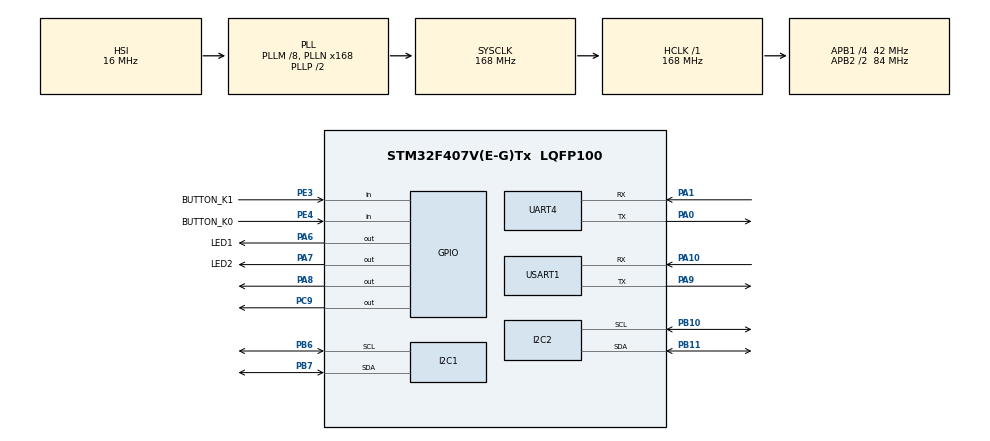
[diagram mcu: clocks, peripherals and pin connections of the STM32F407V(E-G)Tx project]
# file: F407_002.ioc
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Mcu.Family=STM32F4
Mcu.Name=STM32F407V(E-G)Tx
Mcu.Package=LQFP100
NVIC.PriorityGroup=NVIC_PRIORITYGROUP_4
NVIC.UART4_IRQn=true\:0\:0\:false\:false\:true\:true\:true\:true
PA0-WKUP.Mode=Asynchronous
PA0-WKUP.Signal=UART4_TX
PA1.Mode=Asynchronous
PA1.Signal=UART4_RX
PA10.Mode=Asynchronous
PA10.Signal=USART1_RX
PA13.Mode=Trace_Asynchronous_SW
PA13.Signal=SYS_JTMS-SWDIO
PA14.Mode=Trace_Asynchronous_SW
PA14.Signal=SYS_JTCK-SWCLK
PA6.GPIO_Label=LED1
PA6.Signal=GPIO_Output
PA7.GPIO_Label=LED2
PA7.Signal=GPIO_Output
PA8.Signal=GPIO_Output
PA9.Mode=Asynchronous
PA9.Signal=USART1_TX
PB10.Mode=I2C
PB10.Signal=I2C2_SCL
PB11.Mode=I2C
PB11.Signal=I2C2_SDA
PB3.Mode=Trace_Asynchronous_SW
PB3.Signal=SYS_JTDO-SWO
PB6.Mode=I2C
PB6.Signal=I2C1_SCL
PB7.Mode=I2C
PB7.Signal=I2C1_SDA
PC9.Signal=GPIO_Output
PE3.GPIO_Label=BUTTON_K1
PE3.Signal=GPIO_Input
PE4.GPIO_Label=BUTTON_K0
PE4.Signal=GPIO_Input
ProjectManager.HeapSize=0x200
ProjectManager.StackSize=0x400
ProjectManager.TargetToolchain=STM32CubeIDE
RCC.48MHZClocksFreq_Value=84000000
RCC.AHBFreq_Value=168000000
RCC.APB1CLKDivider=RCC_HCLK_DIV4
RCC.APB1Freq_Value=42000000
RCC.APB1TimFreq_Value=84000000
RCC.APB2CLKDivider=RCC_HCLK_DIV2
RCC.APB2Freq_Value=84000000
RCC.APB2TimFreq_Value=168000000
RCC.CortexFreq_Value=168000000
RCC.HCLKFreq_Value=168000000
RCC.HSE_VALUE=25000000
RCC.HSI_VALUE=16000000
RCC.LSE_VALUE=32768
RCC.PLLM=8
RCC.PLLN=168
RCC.SYSCLKFreq_VALUE=168000000
RCC.SYSCLKSource=RCC_SYSCLKSOURCE_PLLCLK
RCC.VCOOutputFreq_Value=336000000
UART4.VirtualMode=Asynchronous
USART1.VirtualMode=VM_ASYNC
board=custom

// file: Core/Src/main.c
/* USER CODE BEGIN Header */
/**
  ******************************************************************************
  * @file           : main.c
  * @brief          : Main program body
  ******************************************************************************
  * @attention
  *
  * Copyright (c) 2026 STMicroelectronics.
  * All rights reserved.
  *
  * This software is licensed under terms that can be found in the LICENSE file
  * in the root directory of this software component.
  * If no LICENSE file comes with this software, it is provided AS-IS.
  *
  ******************************************************************************
  */
/* USER CODE END Header */
#include "main.h"
#include "i2c.h"
#include "usart.h"
#include "gpio.h"

/* USER CODE BEGIN Includes */
#include <stdio.h>
#include "bh1750.h"
#include "mpu6050.h"
#include "string.h"
/* USER CODE END Includes */

/* USER CODE BEGIN PD */
#define MPU6050_ADDR 0xD0
    // Continuously H-Resolution Mode (1 lx res)
/* USER CODE END PD */

/* USER CODE BEGIN PV */
uint8_t rxData[64];

uint8_t ble_rx_byte;
char ble_rx_buffer[128];
uint16_t ble_rx_index = 0;

char ble_tx_buffer[64];
/* USER CODE END PV */

void SystemClock_Config(void);
/* USER CODE BEGIN PFP */
bool mpu6050_platform_i2c_write(I2C_HandleTypeDef *handle,
								uint8_t dev_addr,
								uint8_t reg_addr,
								const uint8_t *data,
								uint8_t len);
bool mpu6050_platform_i2c_read(I2C_HandleTypeDef *handle,
							   uint8_t dev_addr,
							   uint8_t reg_addr,
							   const uint8_t *data,
							   uint8_t len);

int8_t platform_i2c_write(I2C_HandleTypeDef *handle,
						uint8_t dev_addr,
						const uint8_t *data,
						uint8_t len);

int8_t platform_i2c_read(I2C_HandleTypeDef *handle,
						uint8_t dev_addr,
						const uint8_t *data,
						uint8_t len);

void platform_delay_ms(uint32_t ms);

void BLE_SendData(const char* data);
void BLE_SendSensorData(int16_t Ax, int16_t Ay, int16_t Az);
/* USER CODE END PFP */

/* USER CODE BEGIN 0 */

int _write(int file, char *ptr, int len)
{
    for (int DataIdx = 0; DataIdx < len; DataIdx++)
    {
        ITM_SendChar(*ptr++);
    }
    return len;
}
/* USER CODE END 0 */

int main(void)
{

  /* USER CODE BEGIN 1 */
  bh1750_t light_sensor;
  mpu6050_t sensor;
  mpu6050_config_t config = { .device_address = MPU6050_ADDR };
  bool mpu6050_driver_initialized = false;

  /* USER CODE END 1 */

  /* MCU Configuration--------------------------------------------------------*/

  /* Reset of all peripherals, Initializes the Flash interface and the Systick. */
  HAL_Init();

  /* Configure the system clock */
  SystemClock_Config();

  /* Initialize all configured peripherals */
  MX_GPIO_Init();
  MX_I2C1_Init();
  MX_I2C2_Init();
  MX_UART4_Init();
  MX_USART1_UART_Init();
  /* USER CODE BEGIN 2 */

  mpu6050_driver_initialized = mpu6050_init(&sensor,
		  	  	  &config,
				  &hi2c1,
				  mpu6050_platform_i2c_write,
				  mpu6050_platform_i2c_read);

  if (mpu6050_driver_initialized)
  {
	  printf("--- accelerometer & gyroscope sensor initialized.\r\n");
  }

  if (bh1750_init(&light_sensor,
		  	  	  &hi2c2,
				  (BH1750_ADDR_LOW << 1),
				  platform_i2c_write,
				  platform_i2c_read,
				  platform_delay_ms) == BH1750_OK)
  {
	  printf("--- light sensor initialized.\r\n");
  }

  platform_delay_ms(500);

  /* USER CODE END 2 */

  /* Infinite loop */
  /* USER CODE BEGIN WHILE */

  while (1)
  {
	if (mpu6050_driver_initialized)
	{
		if (mpu6050_read_sensors(&sensor))
		{
		  mpu6050_data_t data;
		  mpu6050_get_data(&sensor, &data);

		  HAL_GPIO_TogglePin(LED1_GPIO_Port, LED1_Pin);
		  // for logic analyzer
		  HAL_GPIO_TogglePin(GPIOA, GPIO_PIN_8);
		  printf("--- mpu6050 accelerometer data: %d %d  %d\r\n", data.ax, data.ay, data.az);
		  BLE_SendSensorData(data.ax, data.ay, data.az);
		}
	}

	if (bh1750_read_lux(&light_sensor) == BH1750_OK)
	{
		printf("--- BH1750 Lux value: %f\r\n", light_sensor.lux);

		if (light_sensor.lux > 250)
		{
		  printf("--- turn led on!\r\n");
		  HAL_GPIO_WritePin(LED2_GPIO_Port, LED2_Pin, SET);
		  // for logic analyzer
		  HAL_GPIO_WritePin(GPIOC, GPIO_PIN_9, SET);
		}
		else
		{
			printf("--- turn led off!\r\n");
			HAL_GPIO_WritePin(LED2_GPIO_Port, LED2_Pin, RESET);
			// for logic analyzer
			HAL_GPIO_WritePin(GPIOC, GPIO_PIN_9, RESET);
		}
	}

	HAL_Delay(500);
    /* USER CODE END WHILE */

  }
}

void SystemClock_Config(void)
{
  RCC_OscInitTypeDef RCC_OscInitStruct = {0};
  RCC_ClkInitTypeDef RCC_ClkInitStruct = {0};

  /** Configure the main internal regulator output voltage
  */
  __HAL_RCC_PWR_CLK_ENABLE();
  __HAL_PWR_VOLTAGESCALING_CONFIG(PWR_REGULATOR_VOLTAGE_SCALE1);

  /** Initializes the RCC Oscillators according to the specified parameters
  * in the RCC_OscInitTypeDef structure.
  */
  RCC_OscInitStruct.OscillatorType = RCC_OSCILLATORTYPE_HSI;
  RCC_OscInitStruct.HSIState = RCC_HSI_ON;
  RCC_OscInitStruct.HSICalibrationValue = RCC_HSICALIBRATION_DEFAULT;
  RCC_OscInitStruct.PLL.PLLState = RCC_PLL_ON;
  RCC_OscInitStruct.PLL.PLLSource = RCC_PLLSOURCE_HSI;
  RCC_OscInitStruct.PLL.PLLM = 8;
  RCC_OscInitStruct.PLL.PLLN = 168;
  RCC_OscInitStruct.PLL.PLLP = RCC_PLLP_DIV2;
  RCC_OscInitStruct.PLL.PLLQ = 4;
  if (HAL_RCC_OscConfig(&RCC_OscInitStruct) != HAL_OK)
  {
    Error_Handler();
  }

  /** Initializes the CPU, AHB and APB buses clocks
  */
  RCC_ClkInitStruct.ClockType = RCC_CLOCKTYPE_HCLK|RCC_CLOCKTYPE_SYSCLK
                              |RCC_CLOCKTYPE_PCLK1|RCC_CLOCKTYPE_PCLK2;
  RCC_ClkInitStruct.SYSCLKSource = RCC_SYSCLKSOURCE_PLLCLK;
  RCC_ClkInitStruct.AHBCLKDivider = RCC_SYSCLK_DIV1;
  RCC_ClkInitStruct.APB1CLKDivider = RCC_HCLK_DIV4;
  RCC_ClkInitStruct.APB2CLKDivider = RCC_HCLK_DIV2;

  if (HAL_RCC_ClockConfig(&RCC_ClkInitStruct, FLASH_LATENCY_5) != HAL_OK)
  {
    Error_Handler();
  }
}

/* USER CODE BEGIN 4 */
/**
  * @brief Sends a generic string buffer over UART to the RYB2340_Lite.
  *        In transparent mode, this text pushes directly to the BLE notification characteristic.
  */
void BLE_SendData(const char* data)
{
  HAL_UART_Transmit(&huart4, (uint8_t*)data, strlen(data), HAL_MAX_DELAY);
}

/**
  * @brief Formats and transmits sensor data to the BLE module.
  */
void BLE_SendSensorData(int16_t Ax, int16_t Ay, int16_t Az)
{
  // Formats data into a clean, human-readable string or CSV format
  snprintf(ble_tx_buffer, sizeof(ble_tx_buffer), "Ax:%d, Ay: %d, Ay: %d\r\n", Ax, Ay, Az);
  BLE_SendData(ble_tx_buffer);
  printf(ble_tx_buffer);
}

/* USER CODE END 4 */

void Error_Handler(void)
{
  __disable_irq();
  while (1)
  {
  }
}
